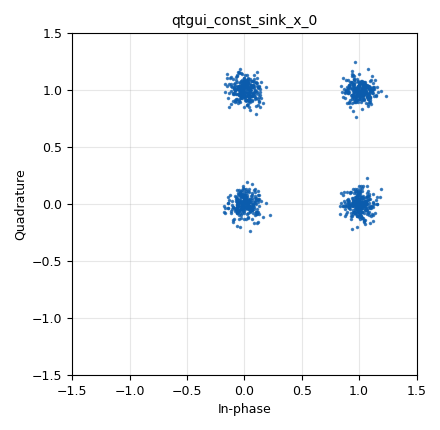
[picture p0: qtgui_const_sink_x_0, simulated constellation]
<?xml version='1.0' encoding='utf-8'?>
<?grc format='1' created='3.7.13'?>
<flow_graph>
<block>
<key>options</key>
<param><key>id</key><value>challenge3</value></param>
<param><key>generate_options</key><value>qt_gui</value></param>
</block>
<block>
<key>variable</key>
<param><key>id</key><value>samp_rate</value></param>
<param><key>value</key><value>32000</value></param>
</block>
<block>
<key>analog_noise_source_x</key>
<param><key>id</key><value>analog_noise_source_x_0</value></param>
<param><key>amp</key><value>0.1</value></param>
<param><key>noise_type</key><value>analog.GR_GAUSSIAN</value></param>
<param><key>type</key><value>complex</value></param>
<param><key>seed</key><value>0</value></param>
</block>
<block>
<key>analog_random_uniform_source_x</key>
<param><key>id</key><value>analog_random_uniform_source_x_0</value></param>
<param><key>comment</key><value>I (real)</value></param>
<param><key>maximum</key><value>2</value></param>
<param><key>minimum</key><value>0</value></param>
<param><key>type</key><value>int</value></param>
<param><key>seed</key><value>234234</value></param>
</block>
<block>
<key>analog_random_uniform_source_x</key>
<param><key>id</key><value>analog_random_uniform_source_x_0_0</value></param>
<param><key>comment</key><value>Q (imaginary)</value></param>
<param><key>maximum</key><value>2</value></param>
<param><key>minimum</key><value>0</value></param>
<param><key>type</key><value>int</value></param>
<param><key>seed</key><value>123123</value></param>
</block>
<block>
<key>blocks_add_xx</key>
<param><key>id</key><value>blocks_add_xx_0</value></param>
<param><key>type</key><value>complex</value></param>
</block>
<block>
<key>blocks_float_to_complex</key>
<param><key>id</key><value>blocks_float_to_complex_0</value></param>
</block>
<block>
<key>blocks_int_to_float</key>
<param><key>id</key><value>blocks_int_to_float_0</value></param>
<param><key>scale</key><value>1</value></param>
</block>
<block>
<key>blocks_int_to_float</key>
<param><key>id</key><value>blocks_int_to_float_0_0</value></param>
<param><key>scale</key><value>1</value></param>
</block>
<block>
<key>blocks_throttle</key>
<param><key>id</key><value>blocks_throttle_0_0</value></param>
<param><key>samples_per_second</key><value>samp_rate</value></param>
<param><key>type</key><value>int</value></param>
</block>
<block>
<key>blocks_throttle</key>
<param><key>id</key><value>blocks_throttle_0_0_0</value></param>
<param><key>samples_per_second</key><value>samp_rate</value></param>
<param><key>type</key><value>int</value></param>
</block>
<block>
<key>note</key>
<param><key>id</key><value>note_0</value></param>
<param><key>comment</key><value>The Random Unifrom Source blocks just produce
random 1's and 0's.  We convert them to float then
treat one as I (real) and the other as Q (imaginary).
The actual blocks are the same, but when we combine
them to form the complex stream, using the 
"Float to Complex" block,  the top input is
I and the bottom input is Q.

A Constellation Sink is essentially just a realtime
"IQ Plot" like we learned about.

If you run this flowgraph as-is you will see a QPSK
constellation with some noise, with clusters around
0,0     0,1     1,0     1,1

What I want you to do is add math blocks between
the orange ports on both I and Q to cause the resulting
constellation to be 
1,1     -1,1     1,-1      -1,-1

Which is how we usually transmit QPSK, so that
the average is 0,0</value></param>
</block>
<block>
<key>qtgui_const_sink_x</key>
<param><key>id</key><value>qtgui_const_sink_x_0</value></param>
<param><key>grid</key><value>True</value></param>
<param><key>size</key><value>1024</value></param>
<param><key>type</key><value>complex</value></param>
<param><key>xmax</key><value>1.5</value></param>
<param><key>xmin</key><value>-1.5</value></param>
<param><key>ymax</key><value>1.5</value></param>
<param><key>ymin</key><value>-1.5</value></param>
</block>
<connection><source_block_id>analog_noise_source_x_0</source_block_id><sink_block_id>blocks_add_xx_0</sink_block_id><source_key>0</source_key><sink_key>1</sink_key></connection>
<connection><source_block_id>analog_random_uniform_source_x_0</source_block_id><sink_block_id>blocks_throttle_0_0</sink_block_id><source_key>0</source_key><sink_key>0</sink_key></connection>
<connection><source_block_id>analog_random_uniform_source_x_0_0</source_block_id><sink_block_id>blocks_throttle_0_0_0</sink_block_id><source_key>0</source_key><sink_key>0</sink_key></connection>
<connection><source_block_id>blocks_add_xx_0</source_block_id><sink_block_id>qtgui_const_sink_x_0</sink_block_id><source_key>0</source_key><sink_key>0</sink_key></connection>
<connection><source_block_id>blocks_float_to_complex_0</source_block_id><sink_block_id>blocks_add_xx_0</sink_block_id><source_key>0</source_key><sink_key>0</sink_key></connection>
<connection><source_block_id>blocks_int_to_float_0</source_block_id><sink_block_id>blocks_float_to_complex_0</sink_block_id><source_key>0</source_key><sink_key>0</sink_key></connection>
<connection><source_block_id>blocks_int_to_float_0_0</source_block_id><sink_block_id>blocks_float_to_complex_0</sink_block_id><source_key>0</source_key><sink_key>1</sink_key></connection>
<connection><source_block_id>blocks_throttle_0_0</source_block_id><sink_block_id>blocks_int_to_float_0</sink_block_id><source_key>0</source_key><sink_key>0</sink_key></connection>
<connection><source_block_id>blocks_throttle_0_0_0</source_block_id><sink_block_id>blocks_int_to_float_0_0</sink_block_id><source_key>0</source_key><sink_key>0</sink_key></connection>
</flow_graph>
